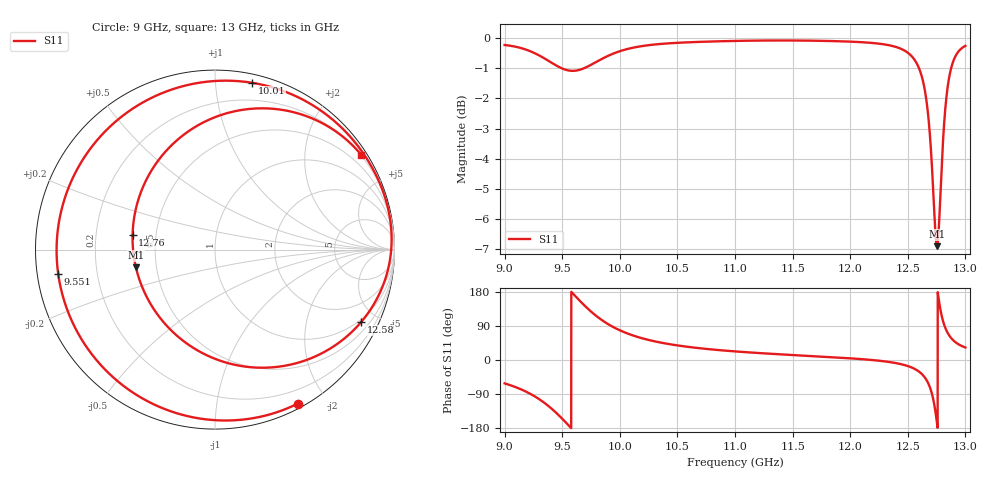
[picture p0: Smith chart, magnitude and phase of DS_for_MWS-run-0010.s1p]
! TOUCHSTONE file generated by CST DESIGN STUDIO
! Date and time: Tue Feb  4 17:33:49 2025
! Project name: C:\Work\MatlabApps\UnitCellOptimizationMatlab\CST\unitcell.cst
! Tree item: Tasks\Sweep1\SPara1\S-Parameters
! Header version: 2024
! Port assignment regex: !\s*Touchstone port\s*([0-9]+)\s*=\s*(CST MWS port|CST DES external port|CST DES block port)\s*(.+)\s* \(\"(.*)\"\)(\s*mode\s*([0-9]+))?.*
! Touchstone port assignment:
! Touchstone port 1 = CST DES external port 1 ("")
# GHz S MA R 50
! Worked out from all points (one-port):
!   4001 points, 9 GHz to 13 GHz, reference 50 ohm
!   lowest |S11| = -6.9 dB at 12.75 GHz (marker M1), VSWR 2.65, Z = 19.1 - j4.78 ohm
!   |S11| at or under -10 dB: nowhere
!   S11 on the Smith chart (normalised r, x): 9 GHz: 0.05, -1.67; 9.551 GHz: 0.06, -0.08; 10.01 GHz: 0.06, +1.25; 12.58 GHz: 0.88, -4.10; 12.76 GHz: 0.37, +0.08; 13 GHz: 0.18, +3.37
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9  0.9741 -61.7
9.149  0.962 -78.3
9.299  0.9363 -103.1
9.401  0.9119 -126.6
9.5  0.8905 -154.9
9.551  0.8841 -171.0
9.648  0.8856 157.7
9.769  0.9072 122.9
9.872  0.9294 99.7
10  0.9512 78.4
10.007  0.9522 77.4
10.22  0.9718 55.2
10.5  0.9822 38.5
11  0.9894 22.7
11.5  0.991 13.1
12  0.9867 4.4
12.309  0.9755 -4.0
12.5  0.9458 -15.9
12.576  0.9092 -26.3
12.644  0.8273 -44.6
12.696  0.6741 -75.3
12.725  0.5372 -109.6
12.754  0.4516 -167.2
12.764  0.4662 170.1
12.799  0.6391 110.5
12.833  0.7906 79.5
12.902  0.923 49.9
13  0.9708 33.0
